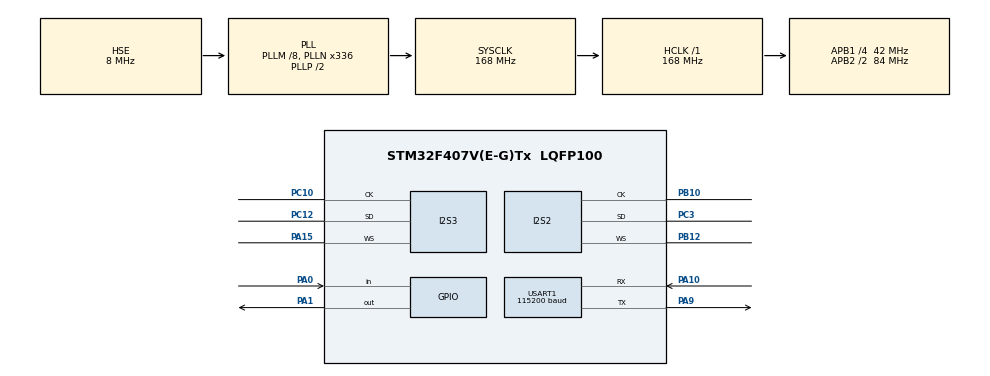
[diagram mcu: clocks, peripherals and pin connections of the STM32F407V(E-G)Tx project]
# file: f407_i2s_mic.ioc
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Dma.Request0=SPI3_TX
Dma.Request1=SPI2_RX
Dma.SPI2_RX.1.Direction=DMA_PERIPH_TO_MEMORY
Dma.SPI2_RX.1.FIFOMode=DMA_FIFOMODE_DISABLE
Dma.SPI2_RX.1.Instance=DMA1_Stream3
Dma.SPI2_RX.1.MemDataAlignment=DMA_MDATAALIGN_HALFWORD
Dma.SPI2_RX.1.MemInc=DMA_MINC_ENABLE
Dma.SPI2_RX.1.Mode=DMA_CIRCULAR
Dma.SPI2_RX.1.PeriphDataAlignment=DMA_PDATAALIGN_HALFWORD
Dma.SPI2_RX.1.PeriphInc=DMA_PINC_DISABLE
Dma.SPI2_RX.1.Priority=DMA_PRIORITY_LOW
Dma.SPI3_TX.0.Direction=DMA_MEMORY_TO_PERIPH
Dma.SPI3_TX.0.FIFOMode=DMA_FIFOMODE_DISABLE
Dma.SPI3_TX.0.Instance=DMA1_Stream5
Dma.SPI3_TX.0.MemDataAlignment=DMA_MDATAALIGN_HALFWORD
Dma.SPI3_TX.0.MemInc=DMA_MINC_ENABLE
Dma.SPI3_TX.0.Mode=DMA_CIRCULAR
Dma.SPI3_TX.0.PeriphDataAlignment=DMA_PDATAALIGN_HALFWORD
Dma.SPI3_TX.0.PeriphInc=DMA_PINC_DISABLE
Dma.SPI3_TX.0.Priority=DMA_PRIORITY_LOW
I2S2.AudioFreq=I2S_AUDIOFREQ_16K
I2S2.DataFormat=I2S_DATAFORMAT_24B
I2S2.ErrorAudioFreq=-0.26 %
I2S2.FullDuplexMode=I2S_FULLDUPLEXMODE_DISABLE
I2S2.Instance=SPI$Index
I2S2.Mode=I2S_MODE_SLAVE_RX
I2S2.RealAudioFreq=15.957 KHz
I2S2.VirtualMode=I2S_MODE_SLAVE
I2S3.AudioFreq=I2S_AUDIOFREQ_16K
I2S3.DataFormat=I2S_DATAFORMAT_24B
I2S3.ErrorAudioFreq=-0.26 %
I2S3.FullDuplexMode=I2S_FULLDUPLEXMODE_DISABLE
I2S3.Instance=SPI$Index
I2S3.RealAudioFreq=15.957 KHz
I2S3.VirtualMode=I2S_MODE_MASTER
Mcu.Family=STM32F4
Mcu.Name=STM32F407V(E-G)Tx
Mcu.Package=LQFP100
NVIC.DMA1_Stream3_IRQn=true\:0\:0\:false\:false\:true\:false\:true
NVIC.DMA1_Stream5_IRQn=true\:0\:0\:false\:false\:true\:false\:true
NVIC.PriorityGroup=NVIC_PRIORITYGROUP_4
PA0-WKUP.GPIO_PuPd=GPIO_PULLDOWN
PA0-WKUP.Signal=GPIO_Input
PA1.PinState=GPIO_PIN_SET
PA1.Signal=GPIO_Output
PA10.Mode=Asynchronous
PA10.Signal=USART1_RX
PA13.Mode=Serial_Wire
PA13.Signal=SYS_JTMS-SWDIO
PA14.Mode=Serial_Wire
PA14.Signal=SYS_JTCK-SWCLK
PA15.Mode=Half_Duplex_Master
PA15.Signal=I2S3_WS
PA9.Mode=Asynchronous
PA9.Signal=USART1_TX
PB10.Mode=Half_Duplex_Slave
PB10.Signal=I2S2_CK
PB12.Mode=Half_Duplex_Slave
PB12.Signal=I2S2_WS
PC10.Mode=Half_Duplex_Master
PC10.Signal=I2S3_CK
PC12.Mode=Half_Duplex_Master
PC12.Signal=I2S3_SD
PC3.Mode=Half_Duplex_Slave
PC3.Signal=I2S2_SD
PH0-OSC_IN.Mode=HSE-External-Oscillator
PH0-OSC_IN.Signal=RCC_OSC_IN
PH1-OSC_OUT.Mode=HSE-External-Oscillator
PH1-OSC_OUT.Signal=RCC_OSC_OUT
ProjectManager.HeapSize=0x200
ProjectManager.StackSize=0x400
ProjectManager.TargetToolchain=STM32CubeIDE
RCC.48MHZClocksFreq_Value=84000000
RCC.AHBFreq_Value=168000000
RCC.APB1CLKDivider=RCC_HCLK_DIV4
RCC.APB1Freq_Value=42000000
RCC.APB1TimFreq_Value=84000000
RCC.APB2CLKDivider=RCC_HCLK_DIV2
RCC.APB2Freq_Value=84000000
RCC.APB2TimFreq_Value=168000000
RCC.CortexFreq_Value=168000000
RCC.HCLKFreq_Value=168000000
RCC.HSE_VALUE=8000000
RCC.HSI_VALUE=16000000
RCC.LSE_VALUE=32768
RCC.PLLM=8
RCC.PLLN=336
RCC.PLLSourceVirtual=RCC_PLLSOURCE_HSE
RCC.SYSCLKFreq_VALUE=168000000
RCC.SYSCLKSource=RCC_SYSCLKSOURCE_PLLCLK
RCC.VCOOutputFreq_Value=336000000
USART1.BaudRate=115200
USART1.VirtualMode=VM_ASYNC
board=custom

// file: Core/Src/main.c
/* USER CODE BEGIN Header */
// DevEBox STM32F407VGT6 dev board
// Demonstrates streaming i2s using DMA with an I2S microphone
// as input and an I2S class D amplifier as output.
// I2S3 used as timing master generating BCK and WS clocks and
// transmitter driving the MAX98357A I2S amplifier.
// I2S2 used as timing slave and receiver taking BCK, WS clocks from
// I2S3 and receiving data from the INMP4411 I2S microphone.
// INMP441 generates 24bit data in a 32bit frame. We configure the mic
// for data on L Channel, right channel data is 0.
// Fs = 16kHz, so bck = 64*fs = 1.024MHz

/* USER CODE END Header */

#include "main.h"

I2S_HandleTypeDef hi2s2;
I2S_HandleTypeDef hi2s3;
DMA_HandleTypeDef hdma_spi2_rx;
DMA_HandleTypeDef hdma_spi3_tx;

UART_HandleTypeDef huart1;

void SystemClock_Config(void);
static void MX_GPIO_Init(void);
static void MX_DMA_Init(void);
static void MX_I2S2_Init(void);
static void MX_I2S3_Init(void);
static void MX_USART1_UART_Init(void);

/* USER CODE BEGIN 0 */

// tx buffer driving  i2s stream to MAX98357A
uint16_t txBuf[128];
// tx dma completion status
int txstate = 0;

// rx buffer accepting i2s stream from INMP441
uint16_t rxBuf[128];
// rx dma completion status
int rxstate = 0;

// Even if clocked from the same BCK and WS,
// I2S2 and I2S3 start up at different times.
// so a FIFO is needed between the input and output i2s streams.

uint16_t fifobuf[256];
// 256 items, use uint8_t pointers to automatically rollover to 0
uint8_t fifo_w_ptr = 0;
uint8_t fifo_r_ptr = 0;

// flag for when the tx stream can be enabled
int fifo_read_enabled = 0;

void FifoWrite(uint16_t data) {
	fifobuf[fifo_w_ptr] = data;
	fifo_w_ptr++;
	}

uint16_t FifoRead() {
	uint16_t val = fifobuf[fifo_r_ptr];
	fifo_r_ptr++;
	return val;
	}

void printMsg(char* format, ...) {
	char sz[100];
	va_list args;
	va_start(args, format);
	vsprintf(sz, format, args);
	HAL_UART_Transmit(&huart1, (uint8_t *)sz, strlen(sz), HAL_MAX_DELAY);
	va_end(args);
	}

/* USER CODE END 0 */

int main(void)
{

  /* MCU Configuration--------------------------------------------------------*/

  /* Reset of all peripherals, Initializes the Flash interface and the Systick. */
  HAL_Init();

  /* Configure the system clock */
  SystemClock_Config();

  /* Initialize all configured peripherals */
  MX_GPIO_Init();
  MX_DMA_Init();
  MX_I2S2_Init();
  MX_I2S3_Init();
  MX_USART1_UART_Init();
  /* USER CODE BEGIN 2 */

  // The INMP441 I2S microphone generates 24bit data in a 32bit frame for the L
  // channel and 24-bit zero data in a 32bit frame for the R channel.
  // The I2S peripheral uses 16bit chunks, so we need to configure
  // the DMA operation for half-word transfers and txBuf and rxBuf
  // need to be pointers to half-word buffers. When using 24bit
  // or 32bits data, we need to specify the number of 32bit frames to be
  // transferred, the HAL api doubles it to send the corresponding number
  // of half-words. The HAL api code comment for the function is wrong :-(.

  // This is why the txBuf and rxBuf arrays store 128 half-words, but
  // we call the api with 64
  // The content of rxBuf on rx dma complete is
  // [L0_hi,L0_lo,0,0,L1_hi,L1_lo, ..., L63_hi,L63_lo,0,0]
  HAL_I2S_Transmit_DMA(&hi2s3, txBuf, 64);

  // We have to start transmit before receive as I2S2 is a timing slave and
  // needs BCK and WS clocks generated by I2S3.
  HAL_I2S_Receive_DMA(&hi2s2, rxBuf, 64);

  /* USER CODE END 2 */

  /* Infinite loop */
  while (1)
  {

    /* USER CODE BEGIN 3 */
	    if (rxstate == 1) {
	        // rxBuf is half-full, write the first half of rxBuf to the FIFO
	        // while the DMA is now writing to the second half.
	    	for (int i = 0; i < 64; i++) {
	    		FifoWrite(rxBuf[i]);
	    		}
	    	// enough buffer available in FIFO, start tx streaming
	    	if (fifo_w_ptr - fifo_r_ptr > 128) {
	    		fifo_read_enabled = 1;
	    		}
	    	rxstate = 0;
	    	}

	    if (rxstate == 2) {
	        // rxBuf is full, write the second half of rxBuf to the FIFO
	        // while the DMA is now writing to the first half. (circular DMA)
	    	for (int i = 0; i < 64; i++) {
	    		FifoWrite(rxBuf[i+64]);
	    		}
	    	rxstate = 0;
	    	}

	    if (txstate == 1) {
	    	if (fifo_read_enabled == 1) {
	    	// DMA has transmitted the first half of txbuf, we
	    	// can re-fill it from the FIFO while DMA is now transmitting
	    	// the second half
				for (int i = 0; i < 64; i++) {
					uint16_t data = FifoRead();
					txBuf[i] = data;
					}
	    		}
	    	txstate = 0;
	    	}

	    if (txstate == 2) {
	    	if (fifo_read_enabled == 1) {
	    	// DMA has transmitted the second half of txbuf, we
	    	// can re-fill it from the FIFO while DMA is now transmitting
	    	// the first half (circular DMA)
				for (int i = 64; i < 128; i++) {
					uint16_t data = FifoRead();
					txBuf[i] = data;
					}
				}
	    	txstate = 0;
	    	}

  }
  /* USER CODE END 3 */
}

void SystemClock_Config(void)
{
  RCC_OscInitTypeDef RCC_OscInitStruct = {0};
  RCC_ClkInitTypeDef RCC_ClkInitStruct = {0};
  RCC_PeriphCLKInitTypeDef PeriphClkInitStruct = {0};

  /** Configure the main internal regulator output voltage
  */
  __HAL_RCC_PWR_CLK_ENABLE();
  __HAL_PWR_VOLTAGESCALING_CONFIG(PWR_REGULATOR_VOLTAGE_SCALE1);
  /** Initializes the CPU, AHB and APB busses clocks
  */
  RCC_OscInitStruct.OscillatorType = RCC_OSCILLATORTYPE_HSE;
  RCC_OscInitStruct.HSEState = RCC_HSE_ON;
  RCC_OscInitStruct.PLL.PLLState = RCC_PLL_ON;
  RCC_OscInitStruct.PLL.PLLSource = RCC_PLLSOURCE_HSE;
  RCC_OscInitStruct.PLL.PLLM = 8;
  RCC_OscInitStruct.PLL.PLLN = 336;
  RCC_OscInitStruct.PLL.PLLP = RCC_PLLP_DIV2;
  RCC_OscInitStruct.PLL.PLLQ = 4;
  if (HAL_RCC_OscConfig(&RCC_OscInitStruct) != HAL_OK)
  {
    Error_Handler();
  }
  /** Initializes the CPU, AHB and APB busses clocks
  */
  RCC_ClkInitStruct.ClockType = RCC_CLOCKTYPE_HCLK|RCC_CLOCKTYPE_SYSCLK
                              |RCC_CLOCKTYPE_PCLK1|RCC_CLOCKTYPE_PCLK2;
  RCC_ClkInitStruct.SYSCLKSource = RCC_SYSCLKSOURCE_PLLCLK;
  RCC_ClkInitStruct.AHBCLKDivider = RCC_SYSCLK_DIV1;
  RCC_ClkInitStruct.APB1CLKDivider = RCC_HCLK_DIV4;
  RCC_ClkInitStruct.APB2CLKDivider = RCC_HCLK_DIV2;

  if (HAL_RCC_ClockConfig(&RCC_ClkInitStruct, FLASH_LATENCY_5) != HAL_OK)
  {
    Error_Handler();
  }
  PeriphClkInitStruct.PeriphClockSelection = RCC_PERIPHCLK_I2S;
  PeriphClkInitStruct.PLLI2S.PLLI2SN = 192;
  PeriphClkInitStruct.PLLI2S.PLLI2SR = 2;
  if (HAL_RCCEx_PeriphCLKConfig(&PeriphClkInitStruct) != HAL_OK)
  {
    Error_Handler();
  }
}

static void MX_I2S2_Init(void)
{

  hi2s2.Instance = SPI2;
  hi2s2.Init.Mode = I2S_MODE_SLAVE_RX;
  hi2s2.Init.Standard = I2S_STANDARD_PHILIPS;
  hi2s2.Init.DataFormat = I2S_DATAFORMAT_24B;
  hi2s2.Init.MCLKOutput = I2S_MCLKOUTPUT_DISABLE;
  hi2s2.Init.AudioFreq = I2S_AUDIOFREQ_16K;
  hi2s2.Init.CPOL = I2S_CPOL_LOW;
  hi2s2.Init.ClockSource = I2S_CLOCK_PLL;
  hi2s2.Init.FullDuplexMode = I2S_FULLDUPLEXMODE_DISABLE;
  if (HAL_I2S_Init(&hi2s2) != HAL_OK)
  {
    Error_Handler();
  }

}

static void MX_I2S3_Init(void)
{

  hi2s3.Instance = SPI3;
  hi2s3.Init.Mode = I2S_MODE_MASTER_TX;
  hi2s3.Init.Standard = I2S_STANDARD_PHILIPS;
  hi2s3.Init.DataFormat = I2S_DATAFORMAT_24B;
  hi2s3.Init.MCLKOutput = I2S_MCLKOUTPUT_DISABLE;
  hi2s3.Init.AudioFreq = I2S_AUDIOFREQ_16K;
  hi2s3.Init.CPOL = I2S_CPOL_LOW;
  hi2s3.Init.ClockSource = I2S_CLOCK_PLL;
  hi2s3.Init.FullDuplexMode = I2S_FULLDUPLEXMODE_DISABLE;
  if (HAL_I2S_Init(&hi2s3) != HAL_OK)
  {
    Error_Handler();
  }

}

static void MX_USART1_UART_Init(void)
{

  huart1.Instance = USART1;
  huart1.Init.BaudRate = 115200;
  huart1.Init.WordLength = UART_WORDLENGTH_8B;
  huart1.Init.StopBits = UART_STOPBITS_1;
  huart1.Init.Parity = UART_PARITY_NONE;
  huart1.Init.Mode = UART_MODE_TX_RX;
  huart1.Init.HwFlowCtl = UART_HWCONTROL_NONE;
  huart1.Init.OverSampling = UART_OVERSAMPLING_16;
  if (HAL_UART_Init(&huart1) != HAL_OK)
  {
    Error_Handler();
  }

}

static void MX_DMA_Init(void)
{

  /* DMA controller clock enable */
  __HAL_RCC_DMA1_CLK_ENABLE();

  /* DMA interrupt init */
  /* DMA1_Stream3_IRQn interrupt configuration */
  HAL_NVIC_SetPriority(DMA1_Stream3_IRQn, 0, 0);
  HAL_NVIC_EnableIRQ(DMA1_Stream3_IRQn);
  /* DMA1_Stream5_IRQn interrupt configuration */
  HAL_NVIC_SetPriority(DMA1_Stream5_IRQn, 0, 0);
  HAL_NVIC_EnableIRQ(DMA1_Stream5_IRQn);

}

static void MX_GPIO_Init(void)
{
  GPIO_InitTypeDef GPIO_InitStruct = {0};

  /* GPIO Ports Clock Enable */
  __HAL_RCC_GPIOH_CLK_ENABLE();
  __HAL_RCC_GPIOC_CLK_ENABLE();
  __HAL_RCC_GPIOA_CLK_ENABLE();
  __HAL_RCC_GPIOB_CLK_ENABLE();

  /*Configure GPIO pin Output Level */
  HAL_GPIO_WritePin(GPIOA, GPIO_PIN_1, GPIO_PIN_SET);

  /*Configure GPIO pin : PA0 */
  GPIO_InitStruct.Pin = GPIO_PIN_0;
  GPIO_InitStruct.Mode = GPIO_MODE_INPUT;
  GPIO_InitStruct.Pull = GPIO_PULLDOWN;
  HAL_GPIO_Init(GPIOA, &GPIO_InitStruct);

  /*Configure GPIO pin : PA1 */
  GPIO_InitStruct.Pin = GPIO_PIN_1;
  GPIO_InitStruct.Mode = GPIO_MODE_OUTPUT_PP;
  GPIO_InitStruct.Pull = GPIO_NOPULL;
  GPIO_InitStruct.Speed = GPIO_SPEED_FREQ_LOW;
  HAL_GPIO_Init(GPIOA, &GPIO_InitStruct);

}

/* USER CODE BEGIN 4 */
void HAL_I2S_TxHalfCpltCallback (I2S_HandleTypeDef *hi2s) {
	txstate = 1;
}

void HAL_I2S_TxCpltCallback (I2S_HandleTypeDef *hi2s) {
	txstate = 2;
}

void HAL_I2S_RxHalfCpltCallback (I2S_HandleTypeDef *hi2s) {
	rxstate = 1;
}

void HAL_I2S_RxCpltCallback (I2S_HandleTypeDef *hi2s) {
	rxstate = 2;
}

/* USER CODE END 4 */

void Error_Handler(void)
{
  /* USER CODE BEGIN Error_Handler_Debug */
  /* User can add his own implementation to report the HAL error return state */
	int counter = 0;
	while (1) {
		HAL_GPIO_TogglePin(GPIOA, GPIO_PIN_1);
		while (counter < 0x3FFFF) {counter++;}
		counter = 0;
		}
  /* USER CODE END Error_Handler_Debug */
}

/************************ (C) COPYRIGHT STMicroelectronics *****END OF FILE****/
